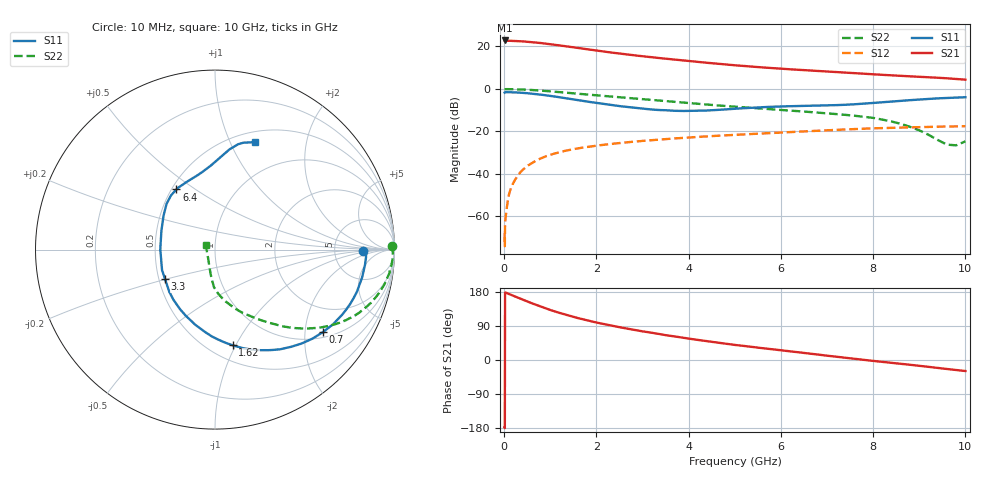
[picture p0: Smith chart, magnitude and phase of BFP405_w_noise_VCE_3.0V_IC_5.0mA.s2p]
! Infineon Technologies  Discrete & RF Semiconductors
! BFP405
! VCE =  3.0 V,  IC =  5.0 mA
! Common Emitter S-Parameters:  Jan 2016
# GHz  S  MA  R  50
!  f  S11  S21  S12  S22
! GHz  MAG  ANG  MAG  ANG  MAG  ANG  MAG  ANG
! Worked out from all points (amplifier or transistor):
!   233 points, 10 MHz to 10 GHz, reference 50 ohm
!   highest |S21| = 22.8 dB at 10 MHz (marker M1)
!   |S21| within 3 dB of that: start of sweep to 1.422 GHz
!   unconditionally stable (mu >= 1): start of sweep to 16.64 MHz; 3.421 GHz to end of sweep
!   at 200 MHz: K = 0.10, MSG = 33.4 dB, |S12| = -44.2 dB
!   at 1.74 GHz: K = 0.55, MSG = 23.2 dB, |S12| = -27.5 dB
!   at 10 GHz: K = 1.45, MAG = 7.0 dB, |S12| = -17.5 dB
!   lowest NFmin = 1.22 dB at 900 MHz
!   S11 on the Smith chart (normalised r, x): 10 MHz: 10, -1; 700 MHz: 1.16, -2.49; 1.62 GHz: 0.64, -0.97; 3.3 GHz: 0.54, -0.20; 6.4 GHz: 0.53, +0.42; 10 GHz: 0.61, +1.25
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0.01  0.823 -0.6  13.86 -177.7  0.0004 -57.7  0.9881 1.2
0.015  0.8325 -0.7  13.8 -179.8  0.0002 49.5  0.9878 0.6
0.02  0.842 -0.7  13.75 178.1  0.0007 82.6  0.9876 0.0
0.105  0.8404 -5.6  13.64 174.0  0.0033 87.6  0.9914 -2.5
0.26  0.8276 -14.1  13.49 166.3  0.008 82.3  0.9794 -6.7
0.46  0.8027 -24.9  13.05 156.4  0.0141 77.8  0.9641 -11.5
0.7  0.7575 -37.3  12.35 145.2  0.0208 72.3  0.9308 -17.0
0.9  0.7124 -47.2  11.7 136.2  0.0259 68.0  0.8979 -21.2
1.1  0.6642 -56.7  10.98 128.1  0.0304 64.1  0.863 -25.1
1.62  0.5423 -79.5  9.155 110.0  0.0403 56.1  0.7704 -33.3
1.68  0.53 -82.0  8.958 108.1  0.0414 55.4  0.7605 -34.0
2  0.4685 -95.5  8.01 98.9  0.0463 51.8  0.7097 -38.0
2.4  0.4083 -112.2  7.031 88.9  0.052 47.9  0.6527 -42.3
3.3  0.3227 -149.8  5.432 69.9  0.0637 40.7  0.5407 -50.7
3.4  0.3185 -154.3  5.292 67.8  0.065 40.0  0.5291 -51.7
4  0.3049 179.6  4.549 56.2  0.0722 35.8  0.4653 -57.3
5.1  0.3482 144.4  3.543 38.5  0.0844 28.3  0.376 -67.4
6.4  0.3982 122.7  2.82 20.0  0.0991 20.3  0.2998 -77.6
6.8  0.4055 115.1  2.648 14.4  0.1041 17.5  0.2779 -80.8
8.4  0.5071 87.6  2.092 -7.5  0.1219 4.8  0.1717 -95.5
9.6  0.6158 75.2  1.783 -23.7  0.1307 -4.5  0.049 -149.5
10  0.6397 69.5  1.657 -29.1  0.1331 -7.1  0.0585 153.1
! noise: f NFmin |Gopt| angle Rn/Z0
0.9  1.22  0.36  11  0.33
1.8  1.49  0.28  18  0.31
2.4  1.64  0.24  26  0.31
3  1.66  0.21  44  0.29
4  1.83  0.1  66  0.25
5  2.19  0.05  139  0.23
